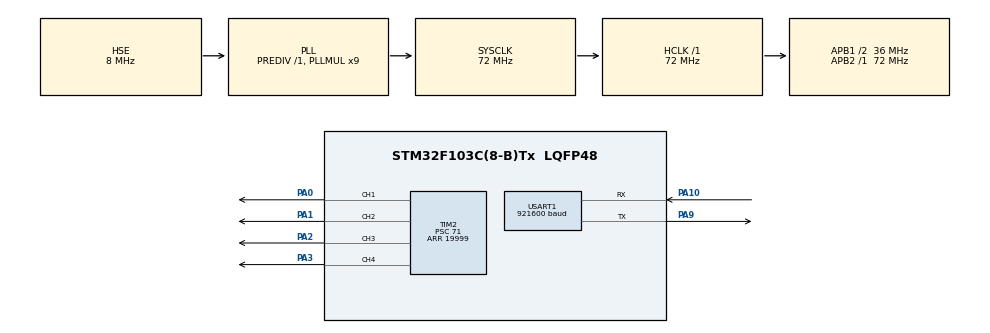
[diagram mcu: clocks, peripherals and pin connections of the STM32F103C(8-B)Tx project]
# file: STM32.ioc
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Dma.Request0=USART1_RX
Dma.Request1=USART1_TX
Dma.USART1_RX.0.Direction=DMA_PERIPH_TO_MEMORY
Dma.USART1_RX.0.Instance=DMA1_Channel5
Dma.USART1_RX.0.MemDataAlignment=DMA_MDATAALIGN_BYTE
Dma.USART1_RX.0.MemInc=DMA_MINC_ENABLE
Dma.USART1_RX.0.Mode=DMA_NORMAL
Dma.USART1_RX.0.PeriphDataAlignment=DMA_PDATAALIGN_BYTE
Dma.USART1_RX.0.PeriphInc=DMA_PINC_DISABLE
Dma.USART1_RX.0.Priority=DMA_PRIORITY_MEDIUM
Dma.USART1_TX.1.Direction=DMA_MEMORY_TO_PERIPH
Dma.USART1_TX.1.Instance=DMA1_Channel4
Dma.USART1_TX.1.MemDataAlignment=DMA_MDATAALIGN_BYTE
Dma.USART1_TX.1.MemInc=DMA_MINC_ENABLE
Dma.USART1_TX.1.Mode=DMA_NORMAL
Dma.USART1_TX.1.PeriphDataAlignment=DMA_PDATAALIGN_BYTE
Dma.USART1_TX.1.PeriphInc=DMA_PINC_DISABLE
Dma.USART1_TX.1.Priority=DMA_PRIORITY_MEDIUM
FREERTOS.Tasks01=defaultTask,24,128,StartDefaultTask,Default,NULL,Dynamic,NULL,NULL
FREERTOS.configTOTAL_HEAP_SIZE=8192
Mcu.Family=STM32F1
Mcu.Name=STM32F103C(8-B)Tx
Mcu.Package=LQFP48
NVIC.DMA1_Channel4_IRQn=true\:5\:0\:false\:false\:true\:true\:false\:true\:true
NVIC.DMA1_Channel5_IRQn=true\:5\:0\:false\:false\:true\:true\:false\:true\:true
NVIC.PriorityGroup=NVIC_PRIORITYGROUP_4
NVIC.TIM4_IRQn=true\:15\:0\:false\:false\:true\:false\:false\:true\:true
NVIC.TimeBase=TIM4_IRQn
NVIC.TimeBaseIP=TIM4
NVIC.USART1_IRQn=true\:5\:0\:false\:false\:true\:true\:false\:true\:true
PA0-WKUP.Signal=S_TIM2_CH1_ETR
PA1.Signal=S_TIM2_CH2
PA10.Mode=Asynchronous
PA10.Signal=USART1_RX
PA2.Signal=S_TIM2_CH3
PA3.Signal=S_TIM2_CH4
PA13.Mode=JTMS-SWDIO
PA13.Signal=SYS_JTMS-SWDIO
PA14.Mode=JTCK-SWCLK
PA14.Signal=SYS_JTCK-SWCLK
PA9.Mode=Asynchronous
PA9.Signal=USART1_TX
PD0-OSC_IN.Mode=HSE-External-Oscillator
PD0-OSC_IN.Signal=RCC_OSC_IN
PD1-OSC_OUT.Mode=HSE-External-Oscillator
PD1-OSC_OUT.Signal=RCC_OSC_OUT
ProjectManager.HeapSize=0x200
ProjectManager.StackSize=0x400
ProjectManager.TargetToolchain=MDK-ARM V5.32
RCC.AHBFreq_Value=72000000
RCC.APB1CLKDivider=RCC_HCLK_DIV2
RCC.APB1Freq_Value=36000000
RCC.APB1TimFreq_Value=72000000
RCC.APB2Freq_Value=72000000
RCC.APB2TimFreq_Value=72000000
RCC.HCLKFreq_Value=72000000
RCC.PLLMUL=RCC_PLL_MUL9
RCC.PLLSourceVirtual=RCC_PLLSOURCE_HSE
RCC.SYSCLKFreq_VALUE=72000000
RCC.SYSCLKSource=RCC_SYSCLKSOURCE_PLLCLK
RCC.USBFreq_Value=72000000
SH.S_TIM2_CH1_ETR.0=TIM2_CH1,PWM Generation1 CH1
SH.S_TIM2_CH2.0=TIM2_CH2,PWM Generation2 CH2
SH.S_TIM2_CH3.0=TIM2_CH3,PWM Generation3 CH3
SH.S_TIM2_CH4.0=TIM2_CH4,PWM Generation4 CH4
TIM2.AutoReloadPreload=TIM_AUTORELOAD_PRELOAD_ENABLE
TIM2.Channel-PWM\ Generation1\ CH1=TIM_CHANNEL_1
TIM2.Channel-PWM\ Generation2\ CH2=TIM_CHANNEL_2
TIM2.Channel-PWM\ Generation3\ CH3=TIM_CHANNEL_3
TIM2.Channel-PWM\ Generation4\ CH4=TIM_CHANNEL_4
TIM2.Period=19999
TIM2.Prescaler=71
USART1.BaudRate=921600
USART1.VirtualMode=VM_ASYNC
VP_FREERTOS_VS_CMSIS_V2.Mode=CMSIS_V2
VP_SYS_VS_Jtag.Mode=Serial_Wire
VP_SYS_VS_tim4.Mode=TIM4
board=custom

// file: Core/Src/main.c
/* USER CODE BEGIN Header */
/**
  ******************************************************************************
  * @file           : main.c
  * @brief          : Main program body
  ******************************************************************************
  * @attention
  *
  * Copyright (c) 2026 STMicroelectronics.
  * All rights reserved.
  *
  * This software is licensed under terms that can be found in the LICENSE file
  * in the root directory of this software component.
  * If no LICENSE file comes with this software, it is provided AS-IS.
  *
  ******************************************************************************
  */
/* USER CODE END Header */
#include "main.h"
#include "cmsis_os.h"
#include "dma.h"
#include "tim.h"
#include "usart.h"
#include "iwdg.h"
#include "gpio.h"

/* USER CODE BEGIN Includes */

#include "servo_driver.h"
#include "traj_planner.h"
#include "status_safety_task.h"

/* USER CODE END Includes */

/* USER CODE BEGIN PD */

#define SERVO_SWING_TEST 0
#define UART_QUICK_TEST  0

/* 调试开关说明：
 * - UART_QUICK_TEST: 不启动 RTOS，只循环发送 TEST，用于验证串口线和波特率；
 * - SERVO_SWING_TEST: 不启动 RTOS，只让 0 号舵机往返摆动，用于验证 PWM 输出。
 * 正常固件两个宏都保持 0，走轨迹规划 + UART 协议 + 状态安全任务。
 */

/* USER CODE END PD */

void SystemClock_Config(void);
void MX_FREERTOS_Init(void);

int main(void)
{

  /* MCU Configuration--------------------------------------------------------*/

  /* Reset of all peripherals, Initializes the Flash interface and the Systick. */
  HAL_Init();

  /* Configure the system clock */
  SystemClock_Config();

  /* Initialize all configured peripherals */
  MX_GPIO_Init();
  MX_DMA_Init();
  MX_USART1_UART_Init();
  MX_TIM2_Init();
  MX_IWDG_Init();
  /* USER CODE BEGIN 2 */

#if UART_QUICK_TEST
  while (1)
  {
    HAL_UART_Transmit(&huart1, (uint8_t *)"TEST\r\n", 6, 100);
    HAL_IWDG_Refresh(&hiwdg);
    HAL_Delay(100);
  }
#endif

#if SERVO_SWING_TEST
  Servo_Init();
#else
  /* RTOS 启动前先把舵机归中，并初始化系统状态机为 BOOT_CENTERING。 */
  TrajPlanner_Init();
  StatusSafety_SystemStateInit();
#endif

  /* USER CODE END 2 */

#if SERVO_SWING_TEST
  while (1)
  {
    Servo_SetAngle(0, 0.0f);
    HAL_Delay(1000);

    Servo_SetAngle(0, 180.0f);
    HAL_Delay(1000);
  }
#else
  /* Init scheduler */
  osKernelInitialize();  /* Call init function for freertos objects (in cmsis_os2.c) */
  MX_FREERTOS_Init();

  /* Start scheduler */
  osKernelStart();

  /* We should never get here as control is now taken by the scheduler */

  /* Infinite loop */
  while (1)
  {

    /* USER CODE BEGIN 3 */
  }
#endif
  /* USER CODE END 3 */
}

void SystemClock_Config(void)
{
  RCC_OscInitTypeDef RCC_OscInitStruct = {0};
  RCC_ClkInitTypeDef RCC_ClkInitStruct = {0};

  /** Initializes the RCC Oscillators according to the specified parameters
  * in the RCC_OscInitTypeDef structure.
  */
  RCC_OscInitStruct.OscillatorType = RCC_OSCILLATORTYPE_HSE;
  RCC_OscInitStruct.HSEState = RCC_HSE_ON;
  RCC_OscInitStruct.HSEPredivValue = RCC_HSE_PREDIV_DIV1;
  RCC_OscInitStruct.HSIState = RCC_HSI_ON;
  RCC_OscInitStruct.PLL.PLLState = RCC_PLL_ON;
  RCC_OscInitStruct.PLL.PLLSource = RCC_PLLSOURCE_HSE;
  RCC_OscInitStruct.PLL.PLLMUL = RCC_PLL_MUL9;
  if (HAL_RCC_OscConfig(&RCC_OscInitStruct) != HAL_OK)
  {
    Error_Handler();
  }

  /** Initializes the CPU, AHB and APB buses clocks
  */
  RCC_ClkInitStruct.ClockType = RCC_CLOCKTYPE_HCLK|RCC_CLOCKTYPE_SYSCLK
                              |RCC_CLOCKTYPE_PCLK1|RCC_CLOCKTYPE_PCLK2;
  RCC_ClkInitStruct.SYSCLKSource = RCC_SYSCLKSOURCE_PLLCLK;
  RCC_ClkInitStruct.AHBCLKDivider = RCC_SYSCLK_DIV1;
  RCC_ClkInitStruct.APB1CLKDivider = RCC_HCLK_DIV2;
  RCC_ClkInitStruct.APB2CLKDivider = RCC_HCLK_DIV1;

  if (HAL_RCC_ClockConfig(&RCC_ClkInitStruct, FLASH_LATENCY_2) != HAL_OK)
  {
    Error_Handler();
  }
}

void HAL_TIM_PeriodElapsedCallback(TIM_HandleTypeDef *htim)
{
  if (htim->Instance == TIM4)
  {
    HAL_IncTick();
  }
}

void Error_Handler(void)
{
  /* USER CODE BEGIN Error_Handler_Debug */
  /* 进入这里说明 HAL 初始化或外设调用失败。关闭中断后停机，等待 IWDG 或调试器介入。 */
  __disable_irq();
  while (1)
  {
  }
  /* USER CODE END Error_Handler_Debug */
}

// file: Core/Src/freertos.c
/* USER CODE BEGIN Header */
/**
  ******************************************************************************
  * File Name          : freertos.c
  * Description        : Code for freertos applications
  ******************************************************************************
  * @attention
  *
  * Copyright (c) 2026 STMicroelectronics.
  * All rights reserved.
  *
  * This software is licensed under terms that can be found in the LICENSE file
  * in the root directory of this software component.
  * If no LICENSE file comes with this software, it is provided AS-IS.
  *
  ******************************************************************************
  */
/* USER CODE END Header */

#include "FreeRTOS.h"
#include "task.h"
#include "main.h"
#include "cmsis_os.h"

/* USER CODE BEGIN Includes */

#include "uart_rx_task.h"
#include "traj_planner.h"
#include "status_safety_task.h"

/* USER CODE END Includes */

void MX_FREERTOS_Init(void); /* (MISRA C 2004 rule 8.1) */

void MX_FREERTOS_Init(void) {

  /* USER CODE BEGIN RTOS_THREADS */
  /* 创建本项目的三个核心任务：
   * - UART RX：DMA + IDLE 接收并解析上位机控制帧；
   * - TrajPlan：按 5ms 周期生成舵机中间角；
   * - Status/Safety：回传状态并喂独立看门狗。
   */
  UartRxTask_Create();
  TrajPlannerTask_Create();
  StatusSafetyTask_Create();
  /* USER CODE END RTOS_THREADS */

}
